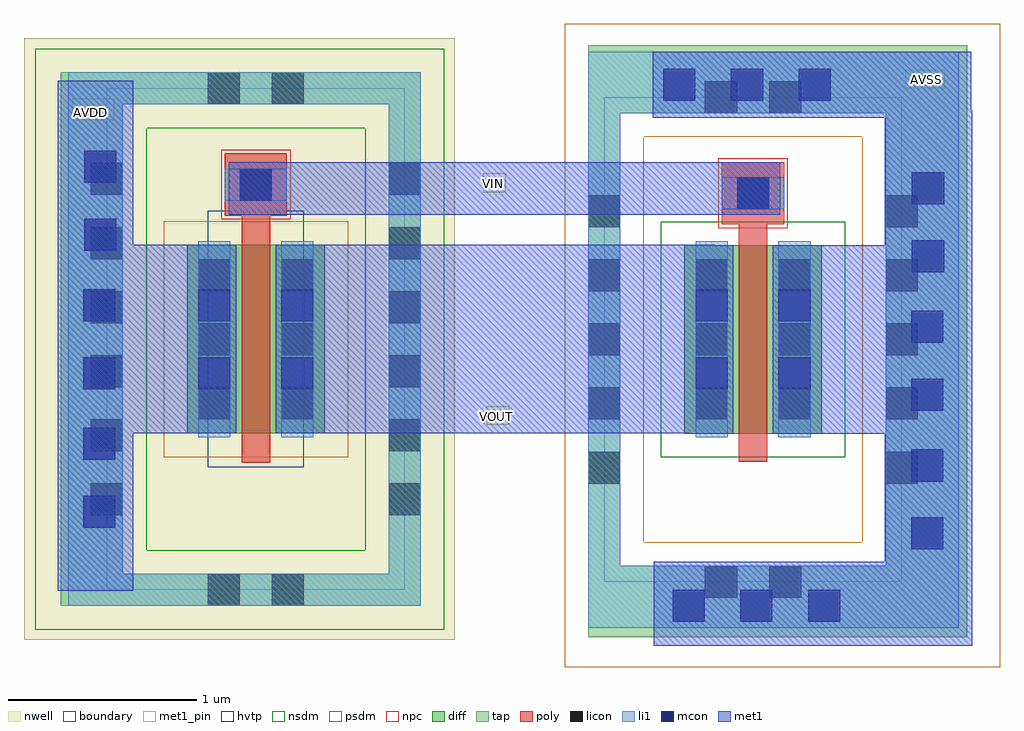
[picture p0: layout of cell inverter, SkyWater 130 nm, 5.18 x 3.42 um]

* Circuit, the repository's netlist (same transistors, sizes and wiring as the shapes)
** sch_path: /home/lci-ufsc/Desktop/work_sky130/inv_test.sch
**.subckt inv_test AVDD AVSS VIN VOUT
*.iopin AVDD
*.iopin AVSS
*.iopin VIN
*.iopin VOUT
XM1 VOUT VIN AVDD AVDD sky130_fd_pr__pfet_01v8_hvt L=0.15 W=1 nf=1 ad='int((nf+1)/2) * W/nf * 0.29' as='int((nf+2)/2) * W/nf * 0.29'
+ pd='2*int((nf+1)/2) * (W/nf + 0.29)' ps='2*int((nf+2)/2) * (W/nf + 0.29)' nrd='0.29 / W' nrs='0.29 / W'
+ sa=0 sb=0 sd=0 mult=1 m=1
XM2 VOUT VIN AVSS AVSS sky130_fd_pr__nfet_01v8 L=0.15 W=1 nf=1 ad='int((nf+1)/2) * W/nf * 0.29' as='int((nf+2)/2) * W/nf * 0.29'
+ pd='2*int((nf+1)/2) * (W/nf + 0.29)' ps='2*int((nf+2)/2) * (W/nf + 0.29)' nrd='0.29 / W' nrs='0.29 / W'
+ sa=0 sb=0 sd=0 mult=1 m=1
**.ends
.end

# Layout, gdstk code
import gdstk
lib = gdstk.Library(unit=1e-6, precision=1e-09)
def R(c, l, rs):  # rectangles x0, y0, x1, y1
    for r in rs: c.add(gdstk.rectangle(r[:2], r[2:], *l))
def A(c, l, x, y, w, h, nx, ny, dx, dy):  # array of equal rectangles
    R(c, l, [(x+i*dx, y+j*dy, x+i*dx+w, y+j*dy+h) for i in range(nx) for j in range(ny)])
nwell = (64, 20)
diff = (65, 20)
tap = (65, 44)
poly = (66, 20)
licon = (66, 44)
li1 = (67, 20)
mcon = (67, 44)
met1_pin = (68, 16)
met1 = (68, 20)
hvtp = (78, 44)
nsdm = (93, 44)
psdm = (94, 20)
npc = (95, 20)
boundary = (235, 4)

sky130_fd_pr__nfet_01v8_ = lib.new_cell('sky130_fd_pr__nfet_01v8_648S5X')
R(sky130_fd_pr__nfet_01v8_, diff, [(-0.073,-0.191,0.657,0.809)])
R(sky130_fd_pr__nfet_01v8_, tap, [(-0.583,-1.271,1.427,-0.891), (-0.583,-0.891,-0.413,1.509), (0.997,-0.891,1.427,1.509), (-0.583,1.509,1.427,1.869)])
R(sky130_fd_pr__nfet_01v8_, poly, [(0.217,-0.341,0.367,0.919), (0.127,0.919,0.457,1.249)])
A(sky130_fd_pr__nfet_01v8_, licon, -0.583, -0.456, 0.17, 0.17, 1, 5, 0, 0.34)
A(sky130_fd_pr__nfet_01v8_, licon, 0.997, -0.456, 0.17, 0.17, 1, 5, 0, 0.34)
A(sky130_fd_pr__nfet_01v8_, licon, -0.013, -0.116, 0.17, 0.17, 1, 3, 0, 0.34)
A(sky130_fd_pr__nfet_01v8_, licon, 0.427, -0.116, 0.17, 0.17, 1, 3, 0, 0.34)
R(sky130_fd_pr__nfet_01v8_, licon, [(0.037,-1.061,0.207,-0.891), (0.377,-1.061,0.547,-0.891), (0.207,0.999,0.377,1.169), (0.037,1.509,0.207,1.679), (0.377,1.509,0.547,1.679)])
R(sky130_fd_pr__nfet_01v8_, li1, [(-0.583,-1.221,1.382,-0.891), (-0.583,-0.891,-0.413,1.509), (0.997,-0.891,1.382,1.509), (-0.013,-0.211,0.157,0.829), (0.427,-0.211,0.597,0.829), (0.127,0.999,0.457,1.169), (-0.583,1.509,1.382,1.834)])
R(sky130_fd_pr__nfet_01v8_, mcon, [(-0.013,0.044,0.157,0.214), (0.427,0.044,0.597,0.214), (-0.013,0.404,0.157,0.574), (0.427,0.404,0.597,0.574), (0.207,0.999,0.377,1.169)])
R(sky130_fd_pr__nfet_01v8_, met1, [(-0.043,-0.191,0.187,0.809), (0.397,-0.191,1.452,0.809), (-2.488,0.969,0.437,1.249)])
R(sky130_fd_pr__nfet_01v8_, nsdm, [(-0.198,-0.316,0.782,0.934)])
R(sky130_fd_pr__nfet_01v8_, psdm, [(-0.708,-1.431,1.602,-0.766), (-0.708,-0.766,-0.288,1.384), (0.872,-0.766,1.602,1.384), (-0.708,1.384,1.602,1.984)])
R(sky130_fd_pr__nfet_01v8_, npc, [(0.107,0.899,0.477,1.269)])
R(sky130_fd_pr__nfet_01v8_, boundary, [(-0.498,-0.976,1.082,1.594)])

sky130_fd_pr__pfet_01v8_ = lib.new_cell('sky130_fd_pr__pfet_01v8_hvt_XGS3BL')
R(sky130_fd_pr__pfet_01v8_, nwell, [(-1.23,-1.595,1.055,1.595)])
R(sky130_fd_pr__pfet_01v8_, diff, [(-0.365,-0.5,0.365,0.5)])
R(sky130_fd_pr__pfet_01v8_, tap, [(-1.035,-1.415,0.875,-1.245), (-1.035,-1.245,-0.705,1.245), (0.705,-1.245,0.875,1.245), (-1.035,1.245,0.875,1.415)])
R(sky130_fd_pr__pfet_01v8_, poly, [(-0.075,-0.655,0.075,0.655), (-0.165,0.655,0.165,0.985)])
A(sky130_fd_pr__pfet_01v8_, licon, -0.875, -0.935, 0.17, 0.17, 1, 6, 0, 0.34)
A(sky130_fd_pr__pfet_01v8_, licon, 0.705, -0.935, 0.17, 0.17, 1, 6, 0, 0.34)
A(sky130_fd_pr__pfet_01v8_, licon, -0.305, -0.425, 0.17, 0.17, 1, 3, 0, 0.34)
A(sky130_fd_pr__pfet_01v8_, licon, 0.135, -0.425, 0.17, 0.17, 1, 3, 0, 0.34)
R(sky130_fd_pr__pfet_01v8_, licon, [(-0.255,-1.415,-0.085,-1.245), (0.085,-1.415,0.255,-1.245), (-0.085,0.735,0.085,0.905), (-0.255,1.245,-0.085,1.415), (0.085,1.245,0.255,1.415)])
R(sky130_fd_pr__pfet_01v8_, li1, [(-0.995,-1.415,0.875,-1.245), (-0.995,-1.245,-0.705,1.245), (0.705,-1.245,0.875,1.245), (-0.305,-0.52,-0.135,0.52), (0.135,-0.52,0.305,0.52), (-0.165,0.735,0.165,0.905), (-0.995,1.245,0.875,1.415)])
R(sky130_fd_pr__pfet_01v8_, mcon, [(-0.305,-0.265,-0.135,-0.095), (0.135,-0.265,0.305,-0.095), (-0.305,0.095,-0.135,0.265), (0.135,0.095,0.305,0.265), (-0.085,0.735,0.085,0.905)])
R(sky130_fd_pr__pfet_01v8_, met1, [(-1.05,-0.5,-0.105,0.5), (0.105,-0.5,2.435,0.5), (-0.145,0.705,0.225,0.935)])
R(sky130_fd_pr__pfet_01v8_, hvtp, [(-0.255,-0.68,0.255,0.68)])
R(sky130_fd_pr__pfet_01v8_, nsdm, [(-1.17,-1.54,1,-1.12), (-1.17,-1.12,-0.58,1.12), (0.58,-1.12,1,1.12), (-1.17,1.12,1,1.54)])
R(sky130_fd_pr__pfet_01v8_, psdm, [(-0.49,-0.625,0.49,0.625)])
R(sky130_fd_pr__pfet_01v8_, npc, [(-0.185,0.635,0.185,1.005)])
R(sky130_fd_pr__pfet_01v8_, boundary, [(-0.79,-1.33,0.79,1.33)])

inverter = lib.new_cell('inverter')
A(inverter, mcon, 3, 2.83, 0.17, 0.17, 3, 1, 0.36, 0)
A(inverter, mcon, 2.95, 5.595, 0.17, 0.17, 3, 1, 0.36, 0)
R(inverter, mcon, [(4.265,3.215,4.435,3.385), (-0.125,3.33,0.045,3.5), (4.265,3.575,4.435,3.745), (-0.125,3.69,0.045,3.86), (4.265,3.95,4.435,4.12), (3.562,4.064,3.732,4.234), (-0.125,4.065,0.045,4.235), (4.265,4.31,4.435,4.48), (-0.125,4.425,0.045,4.595), (4.27,4.685,4.44,4.855), (-0.12,4.8,0.05,4.97), (4.27,5.045,4.44,5.215), (-0.12,5.16,0.05,5.33)])
R(inverter, met1_pin, [(2.015,3.875,2.135,3.975), (1.995,5.11,2.115,5.21), (-0.185,5.49,0.04,5.605), (4.235,5.66,4.445,5.76)])
R(inverter, met1, [(2.9,2.705,4.59,3.15), (4.125,2.705,4.59,5.545), (-0.26,2.995,0.14,5.7), (2.895,5.505,4.585,5.855)])
inverter.add(gdstk.Reference(sky130_fd_pr__nfet_01v8_, (3.135,4.02)))
inverter.add(gdstk.Reference(sky130_fd_pr__pfet_01v8_, (0.79,4.33)))
inverter.add(gdstk.Label('AVDD', (-0.085,5.535), layer=68, texttype=5))
inverter.add(gdstk.Label('AVSS', (4.345,5.705), layer=68, texttype=5))
inverter.add(gdstk.Label('VIN', (2.05,5.155), layer=68, texttype=5))
inverter.add(gdstk.Label('VOUT', (2.065,3.92), layer=68, texttype=5))

lib.write_gds('inverter.gds')
